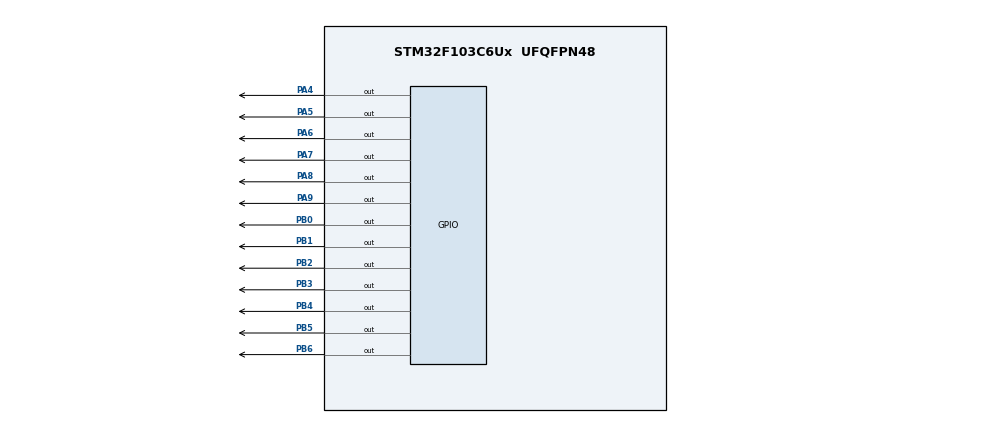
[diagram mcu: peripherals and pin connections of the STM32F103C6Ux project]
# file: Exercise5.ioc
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Mcu.Family=STM32F1
Mcu.Name=STM32F103C6Ux
Mcu.Package=UFQFPN48
NVIC.PriorityGroup=NVIC_PRIORITYGROUP_4
NVIC.TIM2_IRQn=true\:0\:0\:false\:false\:true\:true\:true\:true
PA4.Signal=GPIO_Output
PA5.Signal=GPIO_Output
PA6.Signal=GPIO_Output
PA7.Signal=GPIO_Output
PA8.Signal=GPIO_Output
PA9.Signal=GPIO_Output
PB0.Signal=GPIO_Output
PB1.Signal=GPIO_Output
PB2.Signal=GPIO_Output
PB3.Signal=GPIO_Output
PB4.Signal=GPIO_Output
PB5.Signal=GPIO_Output
PB6.Signal=GPIO_Output
ProjectManager.HeapSize=0x200
ProjectManager.StackSize=0x400
ProjectManager.TargetToolchain=STM32CubeIDE
RCC.APB1Freq_Value=8000000
RCC.APB2Freq_Value=8000000
TIM2.Period=9
TIM2.Prescaler=7999
VP_SYS_VS_ND.Mode=No_Debug
VP_TIM2_VS_ClockSourceINT.Mode=Internal
board=custom

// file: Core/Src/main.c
/* USER CODE BEGIN Header */
/**
  ******************************************************************************
  * @file           : main.c
  * @brief          : Main program body
  ******************************************************************************
  * @attention
  *
  * Copyright (c) 2025 STMicroelectronics.
  * All rights reserved.
  *
  * This software is licensed under terms that can be found in the LICENSE file
  * in the root directory of this software component.
  * If no LICENSE file comes with this software, it is provided AS-IS.
  *
  ******************************************************************************
  */
/* USER CODE END Header */
#include "main.h"

TIM_HandleTypeDef htim2;

void SystemClock_Config(void);
static void MX_GPIO_Init(void);
static void MX_TIM2_Init(void);
void updateClockBuffer(void);

/* USER CODE BEGIN 0 */
int led_buffer[4] = {0, 0, 0, 0};
int hour = 15, minute = 8, second = 50;
/* USER CODE END 0 */

int main(void)
{

  /* MCU Configuration--------------------------------------------------------*/

  /* Reset of all peripherals, Initializes the Flash interface and the Systick. */
  HAL_Init();

  /* Configure the system clock */
  SystemClock_Config();

  /* Initialize all configured peripherals */
  MX_GPIO_Init();
  MX_TIM2_Init();
  /* USER CODE BEGIN 2 */
  HAL_TIM_Base_Start_IT(&htim2);
  /* USER CODE END 2 */
  updateClockBuffer();
  /* Infinite loop */
  while (1)
  {
	if(second >= 60){
		second = 0;
		minute++;
	}
	if(minute >= 60){
		minute = 0;
		hour++;
	}
	if(hour >= 24){
		hour = 0;
	}

	updateClockBuffer();
	HAL_Delay(1000);
	second++;
  }
}

void SystemClock_Config(void)
{
  RCC_OscInitTypeDef RCC_OscInitStruct = {0};
  RCC_ClkInitTypeDef RCC_ClkInitStruct = {0};

  /** Initializes the RCC Oscillators according to the specified parameters
  * in the RCC_OscInitTypeDef structure.
  */
  RCC_OscInitStruct.OscillatorType = RCC_OSCILLATORTYPE_HSI;
  RCC_OscInitStruct.HSIState = RCC_HSI_ON;
  RCC_OscInitStruct.HSICalibrationValue = RCC_HSICALIBRATION_DEFAULT;
  RCC_OscInitStruct.PLL.PLLState = RCC_PLL_NONE;
  if (HAL_RCC_OscConfig(&RCC_OscInitStruct) != HAL_OK)
  {
    Error_Handler();
  }

  /** Initializes the CPU, AHB and APB buses clocks
  */
  RCC_ClkInitStruct.ClockType = RCC_CLOCKTYPE_HCLK|RCC_CLOCKTYPE_SYSCLK
                              |RCC_CLOCKTYPE_PCLK1|RCC_CLOCKTYPE_PCLK2;
  RCC_ClkInitStruct.SYSCLKSource = RCC_SYSCLKSOURCE_HSI;
  RCC_ClkInitStruct.AHBCLKDivider = RCC_SYSCLK_DIV1;
  RCC_ClkInitStruct.APB1CLKDivider = RCC_HCLK_DIV1;
  RCC_ClkInitStruct.APB2CLKDivider = RCC_HCLK_DIV1;

  if (HAL_RCC_ClockConfig(&RCC_ClkInitStruct, FLASH_LATENCY_0) != HAL_OK)
  {
    Error_Handler();
  }
}

static void MX_TIM2_Init(void)
{

  TIM_ClockConfigTypeDef sClockSourceConfig = {0};
  TIM_MasterConfigTypeDef sMasterConfig = {0};

  htim2.Instance = TIM2;
  htim2.Init.Prescaler = 7999;
  htim2.Init.CounterMode = TIM_COUNTERMODE_UP;
  htim2.Init.Period = 9;
  htim2.Init.ClockDivision = TIM_CLOCKDIVISION_DIV1;
  htim2.Init.AutoReloadPreload = TIM_AUTORELOAD_PRELOAD_DISABLE;
  if (HAL_TIM_Base_Init(&htim2) != HAL_OK)
  {
    Error_Handler();
  }
  sClockSourceConfig.ClockSource = TIM_CLOCKSOURCE_INTERNAL;
  if (HAL_TIM_ConfigClockSource(&htim2, &sClockSourceConfig) != HAL_OK)
  {
    Error_Handler();
  }
  sMasterConfig.MasterOutputTrigger = TIM_TRGO_RESET;
  sMasterConfig.MasterSlaveMode = TIM_MASTERSLAVEMODE_DISABLE;
  if (HAL_TIMEx_MasterConfigSynchronization(&htim2, &sMasterConfig) != HAL_OK)
  {
    Error_Handler();
  }

}

static void MX_GPIO_Init(void)
{
  GPIO_InitTypeDef GPIO_InitStruct = {0};

  /* GPIO Ports Clock Enable */
  __HAL_RCC_GPIOA_CLK_ENABLE();
  __HAL_RCC_GPIOB_CLK_ENABLE();

  /*Configure GPIO pin Output Level */
  HAL_GPIO_WritePin(GPIOA, GPIO_PIN_4|GPIO_PIN_5|GPIO_PIN_6|GPIO_PIN_7
                          |GPIO_PIN_8|GPIO_PIN_9, GPIO_PIN_RESET);

  /*Configure GPIO pin Output Level */
  HAL_GPIO_WritePin(GPIOB, GPIO_PIN_0|GPIO_PIN_1|GPIO_PIN_2|GPIO_PIN_3
                          |GPIO_PIN_4|GPIO_PIN_5|GPIO_PIN_6, GPIO_PIN_RESET);

  /*Configure GPIO pins : PA4 PA5 PA6 PA7
                           PA8 PA9 */
  GPIO_InitStruct.Pin = GPIO_PIN_4|GPIO_PIN_5|GPIO_PIN_6|GPIO_PIN_7
                          |GPIO_PIN_8|GPIO_PIN_9;
  GPIO_InitStruct.Mode = GPIO_MODE_OUTPUT_PP;
  GPIO_InitStruct.Pull = GPIO_NOPULL;
  GPIO_InitStruct.Speed = GPIO_SPEED_FREQ_LOW;
  HAL_GPIO_Init(GPIOA, &GPIO_InitStruct);

  /*Configure GPIO pins : PB0 PB1 PB2 PB3
                           PB4 PB5 PB6 */
  GPIO_InitStruct.Pin = GPIO_PIN_0|GPIO_PIN_1|GPIO_PIN_2|GPIO_PIN_3
                          |GPIO_PIN_4|GPIO_PIN_5|GPIO_PIN_6;
  GPIO_InitStruct.Mode = GPIO_MODE_OUTPUT_PP;
  GPIO_InitStruct.Pull = GPIO_NOPULL;
  GPIO_InitStruct.Speed = GPIO_SPEED_FREQ_LOW;
  HAL_GPIO_Init(GPIOB, &GPIO_InitStruct);

}

/* USER CODE BEGIN 4 */
void updateClockBuffer(void){
	led_buffer[0] = hour / 10; //extract hour second digit
	led_buffer[1] = hour % 10; //extract hour first digit
	led_buffer[2] = minute / 10; //extract hour second digit
	led_buffer[3] = minute % 10; //extract hour first digit
}
void display7SEG(int num){
  switch(num){
      case 0:
          HAL_GPIO_WritePin(GPIOB, GPIO_PIN_0 | GPIO_PIN_1 | GPIO_PIN_2 | GPIO_PIN_3 | GPIO_PIN_4 | GPIO_PIN_5, RESET);
          HAL_GPIO_WritePin(GPIOB,  GPIO_PIN_6, SET);
          break;
      case 1:
          HAL_GPIO_WritePin(GPIOB, GPIO_PIN_1 | GPIO_PIN_2, RESET);
          HAL_GPIO_WritePin(GPIOB,  GPIO_PIN_0 | GPIO_PIN_3 | GPIO_PIN_4 | GPIO_PIN_5 | GPIO_PIN_6, SET);
          break;
      case 2:
          HAL_GPIO_WritePin(GPIOB, GPIO_PIN_0 | GPIO_PIN_1 | GPIO_PIN_3 | GPIO_PIN_4 | GPIO_PIN_6, RESET);
          HAL_GPIO_WritePin(GPIOB,  GPIO_PIN_2 | GPIO_PIN_5, SET);
          break;
      case 3:
          HAL_GPIO_WritePin(GPIOB, GPIO_PIN_0 | GPIO_PIN_1 | GPIO_PIN_3 | GPIO_PIN_2 | GPIO_PIN_6, RESET);
          HAL_GPIO_WritePin(GPIOB,  GPIO_PIN_4 | GPIO_PIN_5, SET);
          break;
      case 4:
          HAL_GPIO_WritePin(GPIOB, GPIO_PIN_1 | GPIO_PIN_2 | GPIO_PIN_5 | GPIO_PIN_6, RESET);
          HAL_GPIO_WritePin(GPIOB,  GPIO_PIN_0 | GPIO_PIN_3 | GPIO_PIN_4, SET);
          break;
      case 5:
          HAL_GPIO_WritePin(GPIOB, GPIO_PIN_0 | GPIO_PIN_5 | GPIO_PIN_3 | GPIO_PIN_2 | GPIO_PIN_6, RESET);
          HAL_GPIO_WritePin(GPIOB,  GPIO_PIN_4 | GPIO_PIN_1, SET);
          break;
      case 6:
          HAL_GPIO_WritePin(GPIOB, GPIO_PIN_0 | GPIO_PIN_5 | GPIO_PIN_3 | GPIO_PIN_4 | GPIO_PIN_2 | GPIO_PIN_6, RESET);
          HAL_GPIO_WritePin(GPIOB, GPIO_PIN_1, SET);
          break;
      case 7:
          HAL_GPIO_WritePin(GPIOB, GPIO_PIN_0 | GPIO_PIN_1 | GPIO_PIN_2, RESET);
          HAL_GPIO_WritePin(GPIOB, GPIO_PIN_3 | GPIO_PIN_4 | GPIO_PIN_5 | GPIO_PIN_6, SET);
          break;
      case 8:
          HAL_GPIO_WritePin(GPIOB, GPIO_PIN_0 | GPIO_PIN_1 | GPIO_PIN_2 | GPIO_PIN_3 | GPIO_PIN_4 | GPIO_PIN_5 | GPIO_PIN_6, RESET);
          break;
      case 9:
          HAL_GPIO_WritePin(GPIOB, GPIO_PIN_0 | GPIO_PIN_1 | GPIO_PIN_2 | GPIO_PIN_3 | GPIO_PIN_5 | GPIO_PIN_6, RESET);
          HAL_GPIO_WritePin(GPIOB, GPIO_PIN_4, SET);
          break;
      default:
          HAL_GPIO_WritePin(GPIOB, GPIO_PIN_0 | GPIO_PIN_1 | GPIO_PIN_2 | GPIO_PIN_3 | GPIO_PIN_4 | GPIO_PIN_5 | GPIO_PIN_6, SET);
          break;
  }
}

const int MAX_LED = 4;
int index_led = 0;

void update7SEG(int index){
	switch(index){
		case 0:
			HAL_GPIO_WritePin(GPIOA, GPIO_PIN_6, GPIO_PIN_RESET);
			HAL_GPIO_WritePin(GPIOA, GPIO_PIN_7 | GPIO_PIN_8 | GPIO_PIN_9, GPIO_PIN_SET);
			display7SEG(led_buffer[0]);
			break;
		case 1:
			HAL_GPIO_WritePin(GPIOA, GPIO_PIN_7, GPIO_PIN_RESET);
			HAL_GPIO_WritePin(GPIOA, GPIO_PIN_6 | GPIO_PIN_8 | GPIO_PIN_9, GPIO_PIN_SET);
			display7SEG(led_buffer[1]);
			break;
		case 2:
			HAL_GPIO_WritePin(GPIOA, GPIO_PIN_8, GPIO_PIN_RESET);
			HAL_GPIO_WritePin(GPIOA, GPIO_PIN_6 | GPIO_PIN_7 | GPIO_PIN_9, GPIO_PIN_SET);
			display7SEG(led_buffer[2]);
			break;
		case 3:
			HAL_GPIO_WritePin(GPIOA, GPIO_PIN_9, GPIO_PIN_RESET);
			HAL_GPIO_WritePin(GPIOA, GPIO_PIN_6 | GPIO_PIN_7 | GPIO_PIN_8, GPIO_PIN_SET);
			display7SEG(led_buffer[3]);
			break;
		default:
			break;
	}
}

int display_counter = 0;
int blink_counter = 0;
void HAL_TIM_PeriodElapsedCallback(TIM_HandleTypeDef *htim){
	if(display_counter <= 0){
		if(index_led > 3){
			index_led = 0;
		}
		update7SEG(index_led++);
		if(blink_counter >= 4){
			blink_counter = 0;
			HAL_GPIO_TogglePin(GPIOA, GPIO_PIN_4);
		}
		blink_counter++;
		HAL_GPIO_TogglePin(GPIOA, GPIO_PIN_5);
		display_counter = 25;
	}
	display_counter--;
}
/* USER CODE END 4 */

void Error_Handler(void)
{
  __disable_irq();
  while (1)
  {
  }
}
